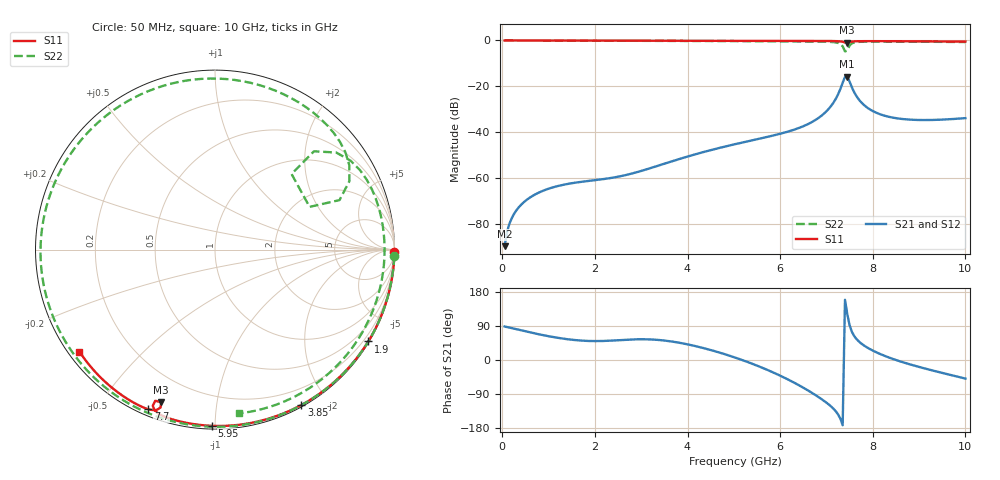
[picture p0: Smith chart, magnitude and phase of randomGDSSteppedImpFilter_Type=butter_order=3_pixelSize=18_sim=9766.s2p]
! freq	dB(S11)	phase(S11)	dB(S12)	phase(S12)
!  dB(S21)	phase(S21)	dB(S22)	phase(S22)
!S-par simulation data
#  GHz  S  DB  R 50
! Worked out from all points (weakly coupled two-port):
!   200 points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, 50 MHz to 10 GHz, reference 50 ohm
!   highest |S21| = -15.73 dB at 7.45 GHz (marker M1); lowest = -89.5 dB at 50 MHz (marker M2)
!   lowest |S11| = -0.9 dB at 7.45 GHz (marker M3), VSWR 19.43, Z = 3.86 - j35.2 ohm
!   |S11| at or under -10 dB: nowhere
!   |S22| runs from -4.8 to 0.0 dB; largest |S21 - S12| = 0
!   S11 on the Smith chart (normalised r, x): 50 MHz: open; 1.9 GHz: 0.03, -3.62; 3.85 GHz: 0.02, -1.70; 5.95 GHz: 0.02, -0.98; 7.7 GHz: 0.03, -0.67; 10 GHz: 0.03, -0.33
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0.05  -0.00 -0.8  -89.52 88.4  -89.52 88.4  -0.01 -2.1
0.15  -0.00 -2.5  -80.00 85.6  -80.00 85.6  -0.01 -6.4
0.35  -0.01 -5.8  -72.75 79.8  -72.75 79.8  -0.02 -14.8
0.7  -0.01 -11.5  -67.10 70.1  -67.10 70.1  -0.03 -29.4
1.75  -0.04 -28.5  -61.41 50.9  -61.41 50.9  -0.09 -72.2
1.9  -0.04 -30.9  -61.04 50.1  -61.04 50.1  -0.10 -78.1
2.65  -0.05 -42.7  -58.65 53.3  -58.65 53.3  -0.13 -107.5
3.4  -0.07 -54.2  -54.28 52.6  -54.28 52.6  -0.17 -136.8
3.85  -0.08 -61.0  -51.43 44.9  -51.43 44.9  -0.20 -154.6
4.45  -0.10 -69.8  -47.99 28.0  -47.99 28.0  -0.24 -179.3
5.05  -0.12 -78.4  -45.03 5.5  -45.03 5.5  -0.29 154.4
5.95  -0.16 -90.9  -40.87 -38.4  -40.87 -38.4  -0.38 110.4
6.7  -0.20 -101.3  -35.36 -87.7  -35.36 -87.7  -0.47 69.3
7  -0.23 -105.5  -30.80 -112.6  -30.80 -112.6  -0.57 51.1
7.25  -0.33 -109.7  -23.48 -143.4  -23.48 -143.4  -1.07 32.2
7.4  -0.86 -111.6  -15.89 158.9  -15.89 158.9  -4.76 24.3
7.45  -0.89 -109.4  -15.73 120.6  -15.73 120.6  -4.44 44.7
7.5  -0.63 -109.0  -17.95 91.4  -17.95 91.4  -2.19 44.8
7.7  -0.32 -112.6  -25.73 48.8  -25.73 48.8  -0.62 24.7
8.35  -0.32 -121.8  -33.23 6.5  -33.23 6.5  -0.50 -12.7
9.15  -0.39 -132.1  -34.64 -23.2  -34.64 -23.2  -0.57 -49.1
10  -0.49 -143.0  -33.80 -49.0  -33.80 -49.0  -0.70 -81.6
